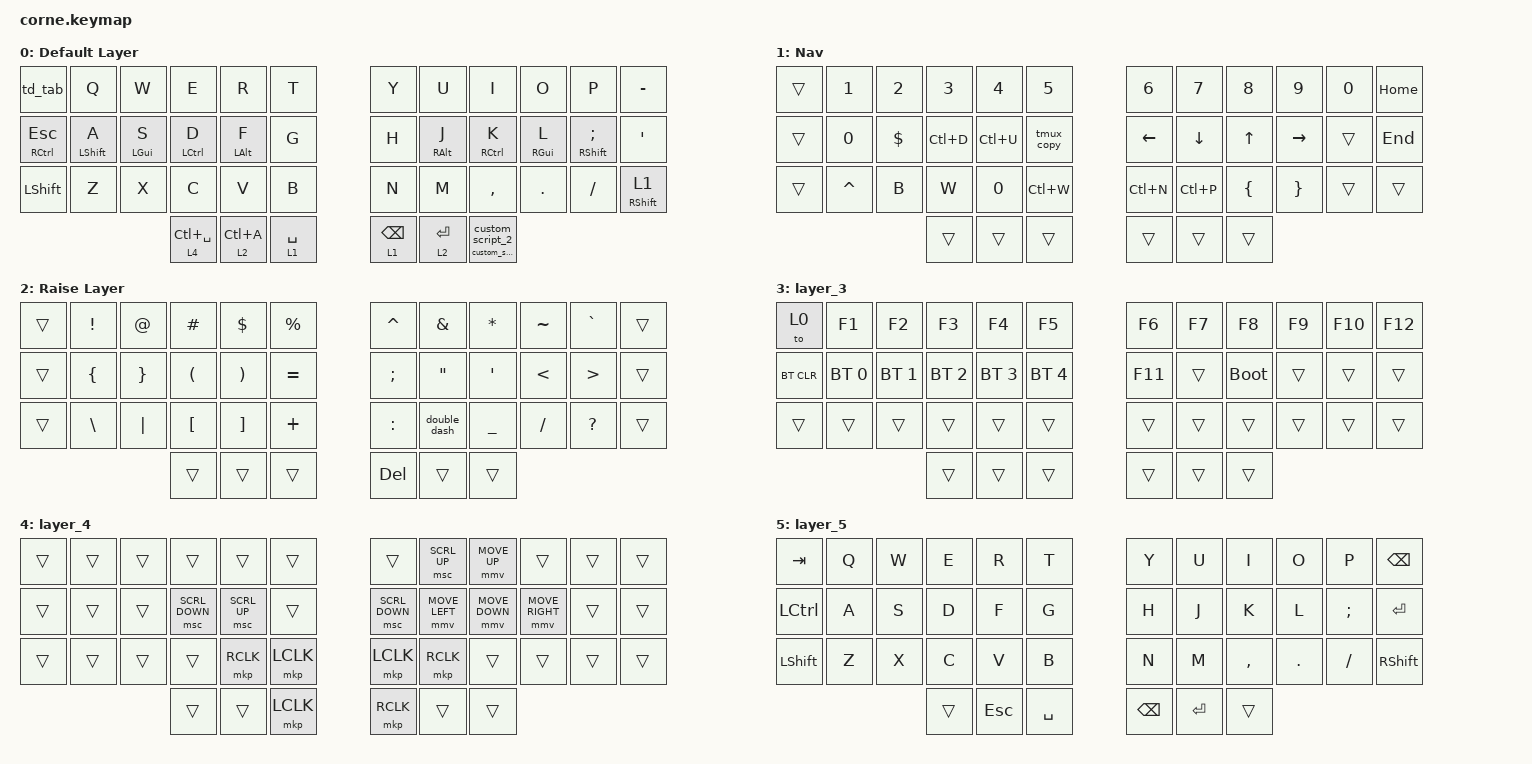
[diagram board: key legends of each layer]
/*
 * Copyright (c) 2020 The ZMK Contributors
 *
 * SPDX-License-Identifier: MIT
 */
// Mouse speed settings - must be defined BEFORE includes
// Tuned to match Kanata config: scroll perfect at 80, pointer at half speed

#define ZMK_POINTING_DEFAULT_MOVE_VAL 900   // Mouse movement (slightly faster)
#define ZMK_POINTING_DEFAULT_SCRL_VAL 80    // Fast scrolling (perfect, keep as is)

#include <behaviors.dtsi>
#include <dt-bindings/zmk/bt.h>
#include <dt-bindings/zmk/keys.h>
#include <dt-bindings/zmk/pointing.h>

/* Key position groups for Corne 42-key - urob's "timeless" homerow mods */

#define KEYS_L 0 1 2 3 4 5 12 13 14 15 16 17 24 25 26 27 28 29  // Left hand
#define KEYS_R 6 7 8 9 10 11 18 19 20 21 22 23 30 31 32 33 34 35  // Right hand
#define THUMBS 36 37 38 39 40 41  // Thumb cluster

/ {
    behaviors {
        /*
         * urob's "timeless" homerow mods
         *
         * Key features:
         * - balanced flavor: Activates hold when another key is pressed+released within tapping-term
         * - require-prior-idle-ms: Immediately taps if typing quickly (eliminates delay)
         * - hold-trigger-key-positions: Only triggers with opposite hand (prevents same-hand rolls)
         * - hold-trigger-on-release: Allows same-hand modifier combos (Ctrl+Shift, etc.)
         * - Large tapping-term (280ms): Reduces timing sensitivity
         */

        hml: homerow_mods_left {
            compatible = "zmk,behavior-hold-tap";
            #binding-cells = <2>;
            flavor = "balanced";
            tapping-term-ms = <280>;
            quick-tap-ms = <175>;
            require-prior-idle-ms = <150>;
            bindings = <&kp>, <&kp>;

            hold-trigger-key-positions = <KEYS_R THUMBS>;
            hold-trigger-on-release;
        };

        hmr: homerow_mods_right {
            compatible = "zmk,behavior-hold-tap";
            #binding-cells = <2>;
            flavor = "balanced";
            tapping-term-ms = <280>;
            quick-tap-ms = <175>;
            require-prior-idle-ms = <150>;
            bindings = <&kp>, <&kp>;

            hold-trigger-key-positions = <KEYS_L THUMBS>;
            hold-trigger-on-release;
        };

        hm_shift_l: homerow_mods_left_shift_a {
            compatible = "zmk,behavior-hold-tap";
            #binding-cells = <2>;
            flavor = "balanced";
            tapping-term-ms = <180>;
            quick-tap-ms = <100>;
            require-prior-idle-ms = <80>;
            bindings = <&kp>, <&kp>;

            hold-trigger-key-positions = <KEYS_R THUMBS>;
            hold-trigger-on-release;
        };

        hm_shift_r: homerow_mods_right_shift_semi {
            compatible = "zmk,behavior-hold-tap";
            #binding-cells = <2>;
            flavor = "balanced";
            tapping-term-ms = <170>;
            quick-tap-ms = <80>;
            require-prior-idle-ms = <60>;
            bindings = <&kp>, <&kp>;

            hold-trigger-key-positions = <KEYS_L THUMBS>;
            hold-trigger-on-release;
        };

        lt_hp: layer_tap_hold_balanced {
            compatible = "zmk,behavior-hold-tap";
            #binding-cells = <2>;
            flavor = "balanced";
            tapping-term-ms = <170>;
            quick-tap-ms = <175>;
            bindings = <&mo>, <&kp>;
        };

        lt_enter: layer_tap_hold_preferred_enter {
            compatible = "zmk,behavior-hold-tap";
            #binding-cells = <2>;
            flavor = "hold-preferred";
            tapping-term-ms = <200>;
            quick-tap-ms = <175>;
            bindings = <&mo>, <&kp>;
        };

        /*
         * Custom mouse behaviors with acceleration
         * Tuned for balanced response: slower movement, fast scroll
         * - Moderate acceleration for precise control
         * - Exponential curve for smooth ramping
         */

        mmv_accel: mouse_move_accel {
            compatible = "zmk,behavior-input-two-axis";
            #binding-cells = <1>;
            x-input-code = <INPUT_REL_X>;
            y-input-code = <INPUT_REL_Y>;
            time-to-max-speed-ms = <400>;  // Faster acceleration to max
            acceleration-exponent = <1>;   // Exponential curve
        };

        msc_accel: mouse_scroll_accel {
            compatible = "zmk,behavior-input-two-axis";
            #binding-cells = <1>;
            x-input-code = <INPUT_REL_HWHEEL>;
            y-input-code = <INPUT_REL_WHEEL>;
            time-to-max-speed-ms = <40>;   // Very fast for scrolling (was 300)
            acceleration-exponent = <0>;   // Linear for predictable scrolling
            delay-ms = <0>;
        };

        /*
         * LLM macro hold-tap
         * Tap = custom_script_2 (types "2:" - more frequent)
         * Hold = custom_script_1 (types "1:")
         */

        llm_ht: llm_hold_tap {
            compatible = "zmk,behavior-hold-tap";
            #binding-cells = <2>;
            flavor = "tap-preferred";
            tapping-term-ms = <200>;
            bindings = <&custom_script_1>, <&custom_script_2>;
        };

        /*
         * Shift + Toggle Layer hold-tap
         * Hold = Right Shift
         * Tap = Toggle Layer 1 (Nav)
         */

        shift_tog: shift_toggle {
            compatible = "zmk,behavior-hold-tap";
            #binding-cells = <2>;
            flavor = "hold-preferred";
            tapping-term-ms = <200>;
            bindings = <&kp>, <&tog>;
        };

        /*
         * Tab tap-dance with mouse layer
         * Single-tap = Tab
         * Double-tap = Toggle Layer 4 (Mouse)
         * Hold = Layer 4 (momentary)
         */

        td_tab: tap_dance_tab {
            compatible = "zmk,behavior-tap-dance";
            #binding-cells = <0>;
            tapping-term-ms = <200>;
            bindings = <&lt 4 TAB>, <&tog 4>;
        };
    };

    combos {
        compatible = "zmk,combos";

        bluetooth_fn {
            bindings = <&sl 3>;
            key-positions = <0 11>;
        };

        gaming_toggle {
            bindings = <&tog 5>;
            key-positions = <24 35>;
        };

        // Dash combos for ergonomic access (reduce pinky strain)
        // S+D (left hand): Index + middle fingers

        combo_dash_left {
            timeout-ms = <30>;
            require-prior-idle-ms = <150>;
            key-positions = <14 15>;  // S+D home row
            bindings = <&kp MINUS>;
            layers = <0>;
        };

        // K+L (right hand): Middle + ring fingers

        combo_dash_right {
            timeout-ms = <30>;
            require-prior-idle-ms = <150>;
            key-positions = <20 21>;  // K+L home row (pos 20=K, 21=L)
            bindings = <&kp MINUS>;
            layers = <0>;
        };
    };

    macros {
        tmux_copy: tmux_copy {
            compatible = "zmk,behavior-macro";
            #binding-cells = <0>;
            bindings = <&kp LC(A)>, <&macro_wait_time 50>, <&kp LBKT>;

            label = "TMUX_COPY";
        };

        custom_script_1: custom_script_1 {
            compatible = "zmk,behavior-macro";
            #binding-cells = <0>;
            wait-ms = <30>;
            tap-ms = <40>;
            bindings =
                <&macro_wait_time 250>,
                <&kp LG(LS(O))>,
                <&macro_wait_time 30>,
                <&kp N1 &kp COLON &kp LC(LS(V))>;

            label = "CUSTOM_SCRIPT_1";
        };

        custom_script_2: custom_script_2 {
            compatible = "zmk,behavior-macro";
            #binding-cells = <0>;
            wait-ms = <30>;
            tap-ms = <40>;
            bindings =
                <&macro_wait_time 250>,
                <&kp LG(LS(O))>,
                <&macro_wait_time 30>,
                <&kp N2 &kp COLON &kp LC(LS(V))>;

            label = "CUSTOM_SCRIPT_2";
        };

        // Double dash macro for CLI flags (git log --oneline, etc.)

        double_dash: double_dash {
            compatible = "zmk,behavior-macro";
            #binding-cells = <0>;
            bindings = <&kp MINUS &kp MINUS>;
            label = "DOUBLE_DASH";
        };
    };

    keymap {
        compatible = "zmk,keymap";

        default_layer {
            display-name = "Default Layer";

            // -----------------------------------------------------------------------------------------
            // |  TAB |  Q  |  W  |  E  |  R  |  T  |   |  Y  |  U   |  I  |  O  |  P  | BSPC |
            // | CTRL |  A  | GUI/S | CTRL/D | ALT/F |  G  |   |  H  | ALT/J | CTRL/K | GUI/L |  ;  |  '   |
            // | SHFT |  Z  |  X  |  C  |  V  |  B  |   |  N  |  M   |  ,  |  .  |  /  | ESC  |
            //                    | GUI | LWR | SPC |   | ENT | RSE  | ALT |
            //
            // Note: Using urob's "timeless" homerow mods (hml/hmr) instead of basic mod-tap (mt)

            bindings = <
&td_tab           &kp Q                     &kp W            &kp E               &kp R            &kp T             &kp Y               &kp U              &kp I         &kp O             &kp P                         &kp MINUS
&mt RCTRL ESCAPE  &hm_shift_l LEFT_SHIFT A  &hml LEFT_GUI S  &hml LCTRL D        &hml LEFT_ALT F  &kp G             &kp H               &hmr RIGHT_ALT J   &hmr RCTRL K  &hmr RIGHT_GUI L  &hm_shift_r RSHIFT SEMICOLON  &kp SQT
&kp LSHFT         &kp Z                     &kp X            &kp C               &kp V            &kp B             &kp N               &kp M              &kp COMMA     &kp DOT           &kp FSLH                      &shift_tog RSHIFT 1
                                                             &lt_hp 4 LC(SPACE)  &lt_hp 2 LC(A)   &lt_hp 1 SPACE    &lt_hp 1 BACKSPACE  &lt_enter 2 ENTER  &llm_ht 0 0
            >;
        };

        lower_layer {
            display-name = "Nav";

            // -----------------------------------------------------------------------------------------
            // Optimized Nav Layer - Vim-centric design
            // Row 1: Numbers 1-5 | 6-0, HOME
            // Row 2: 0, $, C-D, C-U, tmux | Arrows, END (below HOME)
            // Row 3: ^, B, W, 0 (dup), C-W | C-N, C-P, {, }
            //
            // Key improvements:
            // - C-D and C-U adjacent (pos 15-16) for ergonomic scrolling
            // - C-N and C-P together (pos 30-31) for completion/nav
            // - Duplicate 0 (pos 13, 28) for symmetry and 0w optimization
            // - B before W (pos 26-27) for mental model
            // - END below HOME for vertical alignment

            bindings = <
&trans  &kp N1     &kp N2      &kp N3     &kp N4     &kp N5        &kp N6     &kp N7     &kp N8          &kp N9           &kp N0  &kp HOME
&trans  &kp N0     &kp DOLLAR  &kp LC(D)  &kp LC(U)  &tmux_copy    &kp LEFT   &kp DOWN   &kp UP          &kp RIGHT        &trans  &kp END
&trans  &kp CARET  &kp B       &kp W      &kp N0     &kp LC(W)     &kp LC(N)  &kp LC(P)  &kp LEFT_BRACE  &kp RIGHT_BRACE  &trans  &trans
                               &trans     &trans     &trans        &trans     &trans     &trans
            >;
        };

        raise_layer {
            display-name = "Raise Layer";

            // -----------------------------------------------------------------------------------------
            // |  TAB |  !  |  @  |  #  |  $  |  %  |   |  ^  |  &  |  *  |  (  |  )  | BSPC |
            // | CTRL |     |     |     |     |     |   |  -  |  =  |  [  |  ]  |  \  |  `   |
            // | SHFT |     |     |     |     |     |   |  _  |  +  |  {  |  }  | "|" |  ~   |
            //                    | GUI |     | SPC |   | ENT |     | ALT |

            bindings = <
&trans  &kp EXCL        &kp AT           &kp HASH              &kp DLLR               &kp PRCNT    &kp CARET      &kp AMPS           &kp ASTRK         &kp TILDE      &kp GRAVE         &trans
&trans  &kp LEFT_BRACE  &kp RIGHT_BRACE  &kp LEFT_PARENTHESIS  &kp RIGHT_PARENTHESIS  &kp EQUAL    &kp SEMICOLON  &kp DOUBLE_QUOTES  &kp SINGLE_QUOTE  &kp LESS_THAN  &kp GREATER_THAN  &trans
&trans  &kp BACKSLASH   &kp PIPE         &kp LEFT_BRACKET      &kp RIGHT_BRACKET      &kp PLUS     &kp COLON      &double_dash       &kp UNDERSCORE    &kp SLASH      &kp QUESTION      &trans
                                         &trans                &trans                 &trans       &kp DELETE     &trans             &trans
            >;
        };

        layer_3 {
            bindings = <
&to 0       &kp F1        &kp F2        &kp F3        &kp F4        &kp F5          &kp F6   &kp F7  &kp F8       &kp F9  &kp F10  &kp F12
&bt BT_CLR  &bt BT_SEL 0  &bt BT_SEL 1  &bt BT_SEL 2  &bt BT_SEL 3  &bt BT_SEL 4    &kp F11  &trans  &bootloader  &trans  &trans   &trans
&trans      &trans        &trans        &trans        &trans        &trans          &trans   &trans  &trans       &trans  &trans   &trans
                                        &trans        &trans        &trans          &trans   &trans  &trans
            >;
        };

        layer_4 {
            bindings = <
&trans  &trans  &trans  &trans          &trans        &trans       &trans          &msc SCRL_UP    &mmv MOVE_UP    &trans           &trans  &trans
&trans  &trans  &trans  &msc SCRL_DOWN  &msc SCRL_UP  &trans       &msc SCRL_DOWN  &mmv MOVE_LEFT  &mmv MOVE_DOWN  &mmv MOVE_RIGHT  &trans  &trans
&trans  &trans  &trans  &trans          &mkp RCLK     &mkp LCLK    &mkp LCLK       &mkp RCLK       &trans          &trans           &trans  &trans
                        &trans          &trans        &mkp LCLK    &mkp RCLK       &trans          &trans
            >;
        };

        layer_5 {
            bindings = <
&kp TAB    &kp Q  &kp W  &kp E   &kp R    &kp T        &kp Y     &kp U      &kp I      &kp O    &kp P     &kp BSPC
&kp LCTRL  &kp A  &kp S  &kp D   &kp F    &kp G        &kp H     &kp J      &kp K      &kp L    &kp SEMI  &kp ENTER
&kp LSHFT  &kp Z  &kp X  &kp C   &kp V    &kp B        &kp N     &kp M      &kp COMMA  &kp DOT  &kp FSLH  &kp RSHFT
                         &trans  &kp ESC  &kp SPACE    &kp BSPC  &kp ENTER  &trans
            >;
        };
    };
};
